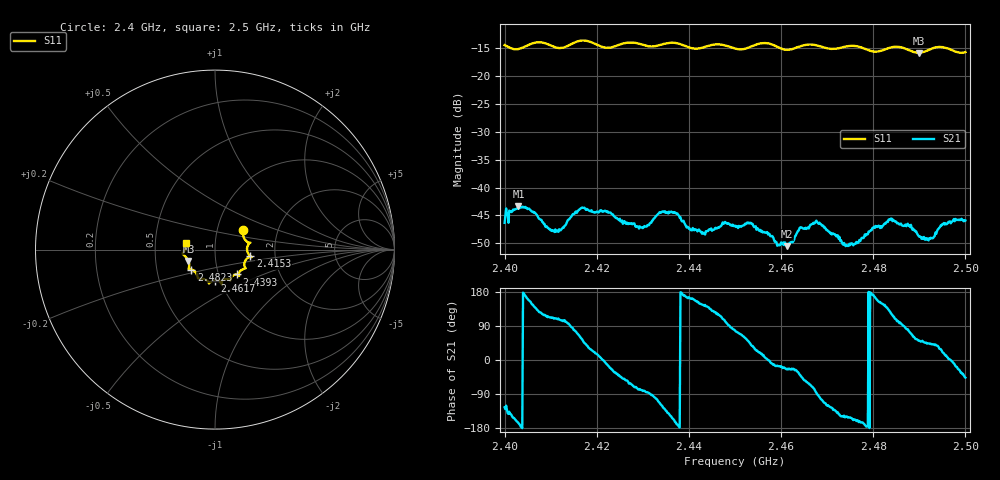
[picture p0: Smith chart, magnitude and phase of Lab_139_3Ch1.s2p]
# Hz S RI R 50
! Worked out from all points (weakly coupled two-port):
!   601 points, 2.4 GHz to 2.5 GHz, reference 50 ohm
!   highest |S21| = -43.39 dB at 2.403 GHz (marker M1); lowest = -50.5 dB at 2.4613 GHz (marker M2)
!   lowest |S11| = -15.8 dB at 2.4898 GHz (marker M3), VSWR 1.38, Z = 36.8 - j4.83 ohm
!   |S11| at or under -10 dB: start of sweep to end of sweep
!   S12 and S22 are empty: the file has one direction only
!   S11 on the Smith chart (normalised r, x): 2.4 GHz: 1.33, +0.30; 2.4153 GHz: 1.49, -0.12; 2.4393 GHz: 1.23, -0.35; 2.4617 GHz: 0.94, -0.33; 2.4823 GHz: 0.75, -0.17; 2.5 GHz: 0.72, +0.05
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2.4e9  0.1557 0.1084  -0.00277 -0.00395  0 0  0 0
2.403e9  0.1641 0.0601  -0.00658 -0.00159  0 0  0 0
2.411167e9  0.1799 0.0146  -0.00137 0.00378  0 0  0 0
2.415333e9  0.1975 -0.0378  0.00143 0.00585  0 0  0 0
2.416667e9  0.204 -0.0419  0.00357 0.00549  0 0  0 0
2.429667e9  0.1598 -0.1079  0.000824 -0.00431  0 0  0 0
2.433333e9  0.1325 -0.1339  -0.00192 -0.00549  0 0  0 0
2.437e9  0.1344 -0.146  -0.00575 -0.00164  0 0  0 0
2.439333e9  0.123 -0.1385  -0.00439 0.00102  0 0  0 0
2.443e9  0.0899 -0.1561  -0.00326 0.00222  0 0  0 0
2.45e9  0.066 -0.164  0.000938 0.00445  0 0  0 0
2.453333e9  0.0368 -0.1792  0.00353 0.00328  0 0  0 0
2.461333e9  0.0049 -0.1719  0.00273 -0.00118  0 0  0 0
2.461667e9  0.000228 -0.1722  0.00278 -0.00117  0 0  0 0
2.466667e9  -0.0337 -0.1888  0.00161 -0.0044  0 0  0 0
2.4745e9  -0.0903 -0.1621  -0.00264 -0.00141  0 0  0 0
2.482333e9  -0.1317 -0.1109  -0.00381 0.00272  0 0  0 0
2.483333e9  -0.1406 -0.1096  -0.00349 0.00379  0 0  0 0
2.489833e9  -0.1482 -0.0638  0.00232 0.00285  0 0  0 0
2.4925e9  -0.1721 -0.0315  0.0026 0.00242  0 0  0 0
2.495167e9  -0.1802 -0.02  0.00444 0.00152  0 0  0 0
2.5e9  -0.1601 0.0363  0.00349 -0.00367  0 0  0 0
